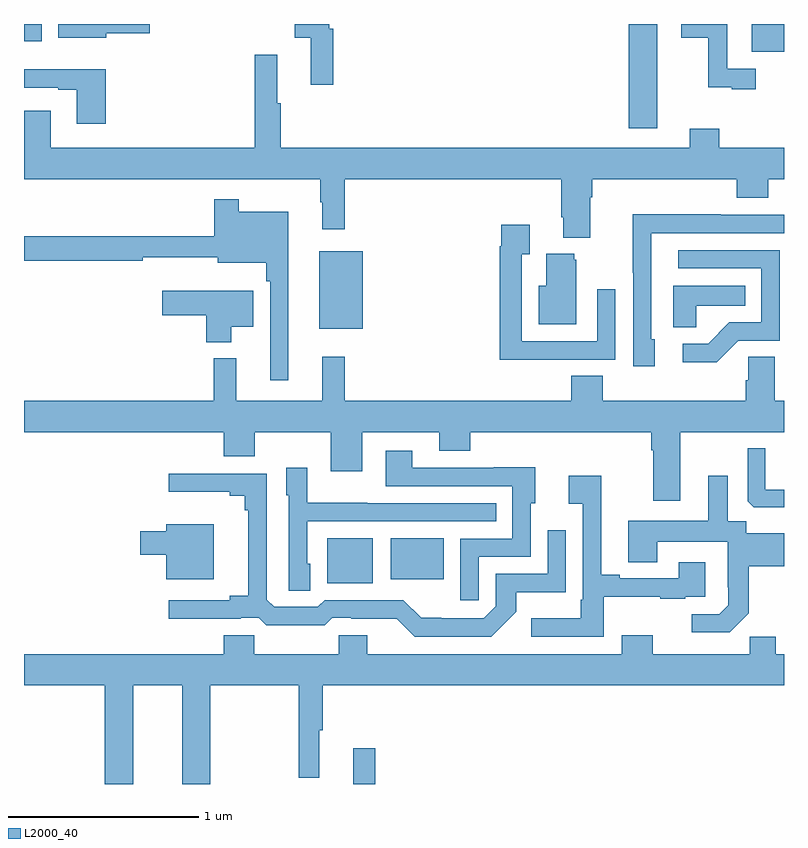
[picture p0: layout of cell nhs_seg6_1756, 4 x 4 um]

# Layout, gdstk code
import gdstk
lib = gdstk.Library(unit=1e-6, precision=1e-09)
def R(c, l, rs):  # rectangles x0, y0, x1, y1
    for r in rs: c.add(gdstk.rectangle(r[:2], r[2:], *l))
def P(c, l, *ps):  # polygons
    for p in ps: c.add(gdstk.Polygon(p, *l))
L2000_40 = (2000, 40)

nhs_seg6_1756 = lib.new_cell('nhs_seg6_1756')
R(nhs_seg6_1756, L2000_40, [(218.732,929.5,218.849,929.689), (218.597,930.557,218.836,930.793), (218.93,930.578,219.208,930.793), (218.555,931.895,218.782,932.305), (220.184,932.952,220.333,933.5), (220.829,933.353,221,933.5), (217,933.408,217.093,933.5)])
P(nhs_seg6_1756, L2000_40, [(217.432,933.452),(217.663,933.452),(217.663,933.5),(217.181,933.5),(217.181,933.428),(217.432,933.428)],
  [(220.852,933.264),(220.701,933.264),(220.701,933.5),(220.458,933.5),(220.458,933.427),(220.6,933.427),(220.6,933.167),(220.724,933.167),(220.724,933.156),(220.852,933.156)],
  [(218.627,933.476),(218.607,933.476),(218.607,933.5),(218.424,933.5),(218.424,933.428),(218.51,933.428),(218.51,933.18),(218.627,933.18)],
  [(218.351,933.084),(218.333,933.084),(218.333,933.337),(218.215,933.337),(218.215,932.848),(217.141,932.848),(217.141,933.043),(217.001,933.043),(217.001,932.848),(217,932.848),(217,932.684),(218.559,932.684),(218.559,932.561),(218.57,932.561),(218.57,932.421),(218.687,932.421),(218.687,932.684),(219.827,932.684),(219.827,932.482),(219.839,932.482),(219.839,932.375),(219.979,932.375),(219.979,932.588),(219.992,932.588),(219.992,932.684),(220.751,932.684),(220.751,932.585),(220.916,932.585),(220.916,932.684),(221,932.684),(221,932.848),(220.658,932.848),(220.658,932.95),(220.505,932.95),(220.505,932.848),(218.351,932.848)],
  [(217.43,933.262),(217,933.262),(217,933.165),(217.181,933.165),(217.181,933.153),(217.277,933.153),(217.277,932.976),(217.43,932.976)],
  [(218.392,932.512),(218.131,932.512),(218.131,932.578),(218.002,932.578),(218.002,932.383),(217,932.383),(217,932.254),(217.625,932.254),(217.625,932.273),(218.021,932.273),(218.021,932.243),(218.275,932.243),(218.275,932.147),(218.295,932.147),(218.295,931.626),(218.392,931.626)],
  [(220.321,931.842),(220.302,931.842),(220.302,932.4),(221,932.4),(221,932.496),(220.667,932.496),(220.667,932.498),(220.204,932.498),(220.204,932.191),(220.206,932.191),(220.206,931.698),(220.321,931.698)],
  [(219.797,931.734),(220.113,931.734),(220.113,932.104),(220.017,932.104),(220.017,931.83),(219.621,931.83),(219.621,932.287),(219.661,932.287),(219.661,932.443),(219.513,932.443),(219.513,932.33),(219.505,932.33),(219.505,931.733),(219.797,931.733)],
  [(220.758,931.833),(220.977,931.833),(220.977,932.31),(220.443,932.31),(220.443,932.214),(220.881,932.214),(220.881,931.929),(220.712,931.929),(220.601,931.818),(220.467,931.818),(220.467,931.721),(220.645,931.721)],
  [(219.907,932.259),(219.896,932.259),(219.896,932.29),(219.749,932.29),(219.749,932.122),(219.71,932.122),(219.71,931.919),(219.907,931.919)],
  [(220.539,932.018),(220.796,932.018),(220.796,932.122),(220.418,932.122),(220.418,931.903),(220.539,931.903)],
  [(218.092,931.907),(218.206,931.907),(218.206,932.095),(217.728,932.095),(217.728,931.966),(217.958,931.966),(217.958,931.826),(218.092,931.826)],
  [(220.453,931.352),(221,931.352),(221,931.516),(220.951,931.516),(220.951,931.748),(220.812,931.748),(220.812,931.625),(220.799,931.625),(220.799,931.516),(220.046,931.516),(220.046,931.649),(219.881,931.649),(219.881,931.516),(218.687,931.516),(218.687,931.75),(218.57,931.75),(218.57,931.516),(218.117,931.516),(218.117,931.741),(217.999,931.741),(217.999,931.516),(217,931.516),(217,931.352),(218.051,931.352),(218.051,931.224),(218.215,931.224),(218.215,931.352),(218.615,931.352),(218.615,931.146),(218.779,931.146),(218.779,931.352),(219.185,931.352),(219.185,931.253),(219.349,931.253),(219.349,931.352),(220.301,931.352),(220.301,931.256),(220.313,931.256),(220.313,930.99),(220.453,930.99)],
  [(221,931.05),(220.902,931.05),(220.902,931.267),(220.809,931.267),(220.809,930.987),(220.841,930.956),(221,930.956)],
  [(219.393,930.696),(219.666,930.696),(219.666,930.978),(219.691,930.978),(219.691,931.166),(219.473,931.166),(219.473,931.164),(219.043,931.164),(219.043,931.255),(218.903,931.255),(218.903,931.068),(219.57,931.068),(219.57,930.792),(219.297,930.792),(219.297,930.468),(219.393,930.468)],
  [(218.506,930.66),(218.49,930.66),(218.49,930.882),(219.485,930.882),(219.485,930.978),(218.807,930.978),(218.807,930.979),(218.49,930.979),(218.49,931.165),(218.381,931.165),(218.381,931.02),(218.394,931.02),(218.394,930.517),(218.506,930.517)],
  [(219.591,930.407),(219.591,930.509),(219.852,930.509),(219.852,930.835),(219.756,930.835),(219.756,930.606),(219.483,930.606),(219.483,930.435),(219.42,930.372),(219.196,930.372),(219.196,930.374),(219.092,930.374),(218.997,930.468),(218.583,930.468),(218.547,930.432),(218.316,930.432),(218.277,930.471),(218.277,931.134),(217.761,931.134),(217.761,931.037),(218.084,931.037),(218.084,931.018),(218.161,931.018),(218.161,930.941),(218.18,930.941),(218.18,930.491),(218.084,930.491),(218.084,930.468),(217.761,930.468),(217.761,930.371),(218.141,930.371),(218.141,930.375),(218.235,930.375),(218.275,930.336),(218.583,930.336),(218.622,930.375),(218.722,930.375),(218.722,930.371),(218.963,930.371),(219.057,930.276),(219.46,930.276)],
  [(220.815,930.399),(220.815,930.645),(221,930.645),(221,930.82),(220.8,930.82),(220.8,930.884),(220.705,930.884),(220.705,931.123),(220.601,931.123),(220.601,930.886),(220.181,930.886),(220.181,930.667),(220.333,930.667),(220.333,930.776),(220.704,930.776),(220.704,930.535),(220.706,930.535),(220.706,930.44),(220.659,930.393),(220.515,930.393),(220.515,930.299),(220.715,930.299)],
  [(220.051,930.485),(220.349,930.485),(220.349,930.474),(220.481,930.474),(220.481,930.486),(220.585,930.486),(220.585,930.667),(220.445,930.667),(220.445,930.582),(220.135,930.582),(220.135,930.601),(220.039,930.601),(220.039,931.123),(219.867,931.123),(219.867,930.974),(219.942,930.974),(219.942,930.469),(219.93,930.469),(219.93,930.373),(219.669,930.373),(219.669,930.276),(220.051,930.276)],
  [(217.999,930.868),(217.748,930.868),(217.748,930.829),(217.611,930.829),(217.611,930.707),(217.748,930.707),(217.748,930.578),(217.999,930.578)],
  [(217.576,930.02),(217.832,930.02),(217.832,929.5),(217.98,929.5),(217.98,930.02),(218.445,930.02),(218.445,929.532),(218.555,929.532),(218.555,929.784),(218.573,929.784),(218.573,930.02),(221,930.02),(221,930.184),(220.957,930.184),(220.957,930.275),(220.819,930.275),(220.819,930.184),(220.309,930.184),(220.309,930.283),(220.145,930.283),(220.145,930.184),(218.806,930.184),(218.806,930.282),(218.656,930.282),(218.656,930.184),(218.211,930.184),(218.211,930.282),(218.051,930.282),(218.051,930.184),(217,930.184),(217,930.02),(217.424,930.02),(217.424,929.5),(217.576,929.5)])

lib.write_gds('nhs_seg6_1756.gds')
